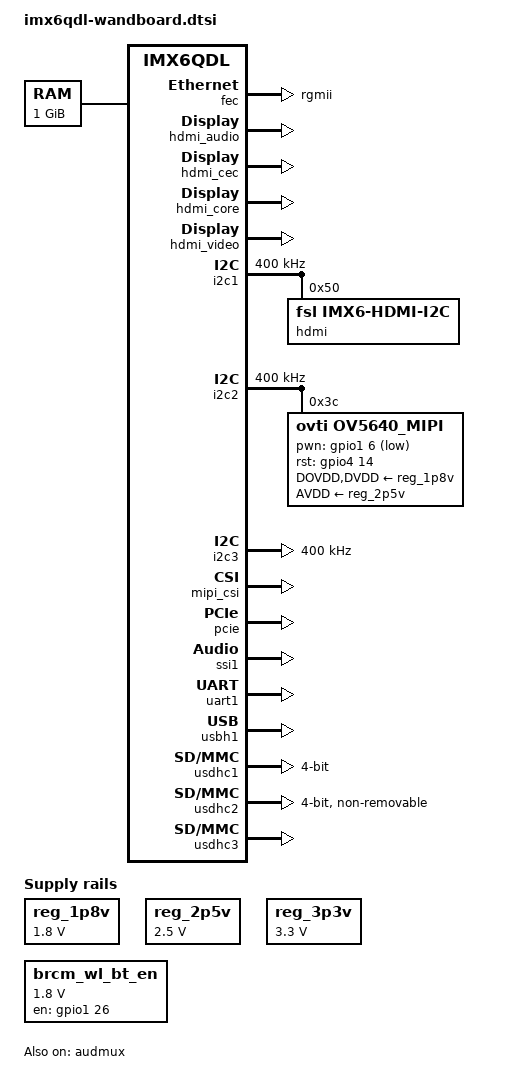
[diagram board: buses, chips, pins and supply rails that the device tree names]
/*
 * Copyright 2014 John Weber, Avnet Electronics Marketing
 * Copyright 2013 Boundary Devices
 * Copyright 2012 Freescale Semiconductor, Inc.
 * Copyright 2011 Linaro Ltd.
 *
 * The code contained herein is licensed under the GNU General Public
 * License. You may obtain a copy of the GNU General Public License
 * Version 2 or later at the following locations:
 *
 * http://www.opensource.org/licenses/gpl-license.html
 * http://www.gnu.org/copyleft/gpl.html
 */

/ {
	aliases {
		mxcfb0 = &mxcfb1;  /* TODO - Add Future display */
/*		mxcfb1 = &mxcfb2;
		mxcfb2 = &mxcfb3;
		mxcfb3 = &mxcfb4;
*/
	};

	memory {
		reg = <0x10000000 0x40000000>;
	};


	regulators {
		compatible = "simple-bus";

		reg_1p8v: 1p8v {
			compatible = "regulator-fixed";
			regulator-name = "1P8V";
			regulator-min-microvolt = <1800000>;
			regulator-max-microvolt = <1800000>;
			regulator-always-on;
		};

		reg_2p5v: 2p5v {
			compatible = "regulator-fixed";
			regulator-name = "2P5V";
			regulator-min-microvolt = <2500000>;
			regulator-max-microvolt = <2500000>;
			regulator-always-on;
		};

		reg_3p3v: 3p3v {
			compatible = "regulator-fixed";
			regulator-name = "3P3V";
			regulator-min-microvolt = <3300000>;
			regulator-max-microvolt = <3300000>;
			regulator-always-on;
		};
#if 0
		reg_usb_otg_vbus: usb_otg_vbus {
			compatible = "regulator-fixed";
			regulator-name = "usb_otg_vbus";
			regulator-min-microvolt = <5000000>;
			regulator-max-microvolt = <5000000>;
			gpio = <&gpio3 22 0>;
			enable-active-high;
		};
#endif

		brcm_wl_bt_en: brcm_wlan {
			compatible = "regulator-fixed";
			regulator-name = "brcm_wl_bt_en";
			regulator-min-microvolt = <1800000>;
			regulator-max-microvolt = <1800000>;
			gpio = <&gpio1 26 0>;
			startup-delay-us = <70000>;
			enable-active-high;
		};
	};


#if 0

	sound {
		compatible = "fsl,imx-audio-sgtl5000";
		model = "imx6q-nitrogen6x-sgtl5000";
		ssi-controller = <&ssi1>;
		audio-codec = <&codec>;
		audio-routing =
			"MIC_IN", "Mic Jack",
			"Mic Jack", "Mic Bias",
			"Headphone Jack", "HP_OUT";
		mux-int-port = <1>;
		mux-ext-port = <3>;
	};
	sound-hdmi {
		compatible = "fsl,imx6q-audio-hdmi",
			     "fsl,imx-audio-hdmi";
		model = "imx-audio-hdmi";
		hdmi-controller = <&hdmi_audio>;
	};
#endif

	mxcfb1: fb@0 {
		compatible = "fsl,mxc_sdc_fb";
		disp_dev = "hdmi";
		interface_pix_fmt = "RGB24";
		mode_str ="1920x1080M@60";
		default_bpp = <24>;
		int_clk = <0>;
		late_init = <0>;
		status = "disabled";
	};

#if 0
	mxcfb2: fb@1 {
		compatible = "fsl,mxc_sdc_fb";
		disp_dev = "hdmi";
		interface_pix_fmt = "RGB24";
		mode_str ="1920x1080M@60";
		default_bpp = <24>;
		int_clk = <0>;
		late_init = <0>;
		status = "disabled";
	};

	mxcfb3: fb@2 {
		compatible = "fsl,mxc_sdc_fb";
		disp_dev = "lcd";
		interface_pix_fmt = "RGB565";
		mode_str ="CLAA-WVGA";
		default_bpp = <16>;
		int_clk = <0>;
		late_init = <0>;
		status = "disabled";
	};

	mxcfb4: fb@3 {
		compatible = "fsl,mxc_sdc_fb";
		disp_dev = "ldb";
		interface_pix_fmt = "RGB666";
		mode_str ="LDB-XGA";
		default_bpp = <16>;
		int_clk = <0>;
		late_init = <0>;
		status = "disabled";
	};
#endif
#if 0
	lcd@0 {
		compatible = "fsl,lcd";
		ipu_id = <0>;
		disp_id = <0>;
		default_ifmt = "RGB565";
		pinctrl-names = "default";
		pinctrl-0 = <&pinctrl_ipu1_4>;
#if 0
		status = "okay";
#endif
	};

	backlight_lcd {
		compatible = "pwm-backlight";
		pwms = <&pwm1 0 5000000>;
		brightness-levels = <0 4 8 16 32 64 128 255>;
		default-brightness-level = <7>;
	};

	backlight_lvds {
		compatible = "pwm-backlight";
		pwms = <&pwm4 0 5000000>;
		brightness-levels = <0 4 8 16 32 64 128 255>;
		default-brightness-level = <7>;
	};
#endif
	v4l2_cap_0 {
		compatible = "fsl,imx6q-v4l2-capture";
		ipu_id = <0>;
		csi_id = <0>;
		mclk_source = <0>;
		status = "okay";
	};

	v4l2_out {
		compatible = "fsl,mxc_v4l2_output";
		status = "okay";
	};
};


&audmux {
	pinctrl-names = "default";
	pinctrl-0 = <&pinctrl_audmux_2>;
	status = "okay";
};

#if 0
&wlan {
	compatible = "brcm, brcmfmac";
	interrupt-parent = <&gpio6>;
	interrupts = <14 IRQ_TYPE_LEVEL_HIGH>;
	clocks = <&refclock>;
	clock-names = "refclock";

	refclock: refclock {
		compatible = "brcm,brcm-clock";
		#clock-cells = <0>;
		clock-frequency = <38400000>;
	};
	status = "disabled";
};
#endif

&fec {
	pinctrl-names = "default";
	pinctrl-0 = <&pinctrl_enet_3>;
	phy-mode = "rgmii";
	status = "okay";
};

&hdmi_audio {
	status = "okay";
};

&hdmi_cec {
	pinctrl-names = "default";
	pinctrl-0 = <&pinctrl_hdmi_cec_2>;
	status = "okay";
};

&hdmi_core {
	ipu_id = <0>;
	disp_id = <0>;
	status = "okay";
};

&hdmi_video {
	fsl,phy_reg_vlev = <0x0294>;
	fsl,phy_reg_cksymtx = <0x800d>;
	status = "okay";
};

&i2c1 {
	clock-frequency = <400000>;
	pinctrl-names = "default";
	pinctrl-0 = <&pinctrl_i2c1_1>;
	status = "okay";

	hdmi: edid@50 {
		compatible = "fsl,imx6-hdmi-i2c";
		reg = <0x50>;
	};

};

&i2c2 {
	clock-frequency = <400000>;
	pinctrl-names = "default";
	pinctrl-0 = <&pinctrl_i2c2_2>;
	status = "okay";

	ov5640_mipi: ov5640_mipi@3c {
		compatible = "ovti,ov5640_mipi";
		reg = <0x3c>;
		clocks = <&clks 200>;
		clock-names = "csi_mclk";
		DOVDD-supply = <&reg_1p8v>;
		AVDD-supply = <&reg_2p5v>;
		DVDD-supply = <&reg_1p8v>;
		pwn-gpios = <&gpio1 6 1>;
		rst-gpios = <&gpio4 14 0>;
		ipu_id = <0>;
		csi_id = <0>;
		mclk = <24000000>;
		mclk_source = <0>;
	};
};

&i2c3 {
        clock-frequency = <400000>;
        pinctrl-names = "default";
        pinctrl-0 = <&pinctrl_i2c3_3>;
        status = "okay";
};

&iomuxc {
	pinctrl-names = "default";
	pinctrl-0 = <&pinctrl_hog_1>;

	hog {
		pinctrl_hog_1: hoggrp-1 {
			fsl,pins = <
				MX6QDL_PAD_EIM_D22__GPIO3_IO22		0x80000000	/* otg power en */
				MX6QDL_PAD_GPIO_2__GPIO1_IO02		0x80000000	/* USDHC1 CD */
				MX6QDL_PAD_EIM_DA9__GPIO3_IO09		0x80000000	/* uSDHC3 CD */
				MX6QDL_PAD_GPIO_0__CCM_CLKO1		0x000b0		/* SGTL5000 sys_mclk */
				MX6QDL_PAD_GPIO_6__GPIO1_IO06		0x0b0b0		/* ov5640 mipi powerdown */
				MX6QDL_PAD_KEY_COL4__GPIO4_IO14		0x000b0		/* ov5640 mipi reset */
				MX6QDL_PAD_GPIO_3__CCM_CLKO2		0x000b0		/* ov5640 mclk */
				MX6QDL_PAD_EIM_A25__GPIO5_IO02		0x0b0b0		/* Wifi reset (active low) */
				MX6QDL_PAD_ENET_RXD1__GPIO1_IO26	0x000b0		/* Wifi power enable */
				MX6QDL_PAD_ENET_TXD1__GPIO1_IO29	0x80000000	/* Wifi host wake */
				MX6QDL_PAD_EIM_EB1__GPIO2_IO29		0x000b0		/* Wifi 32kHz slow clock */
				MX6QDL_PAD_EIM_DA11__GPIO3_IO11 	0x80000000  	/* GPIO EDM p256 */
				MX6QDL_PAD_EIM_D27__GPIO3_IO27 		0x80000000 	/* GPIO EDM p258 */
				MX6QDL_PAD_EIM_BCLK__GPIO6_IO31		0x80000000	/* GPIO EDM p260 */
				MX6QDL_PAD_ENET_RX_ER__GPIO1_IO24	0x80000000	/* GPIO EDM p262 */
				MX6QDL_PAD_SD3_RST__GPIO7_IO08 		0x80000000	/* GPIO EDM p264 */
				MX6QDL_PAD_EIM_D26__GPIO3_IO26 		0x80000000	/* GPIO EDM p259 */
				MX6QDL_PAD_EIM_DA8__GPIO3_IO08 		0x80000000	/* GPIO EDM p261 */
				MX6QDL_PAD_GPIO_19__GPIO4_IO05 		0x80000000	/* GPIO EDM p263 */
			>;
		};
	};
};


#if 0
&ldb {
	ipu_id = <0>;
	disp_id = <1>;
	ext_ref = <1>;
	mode = "sin0";
	sec_ipu_id = <1>;
	sec_disp_id = <1>;
	status = "okay";
};
#endif

&mipi_csi {
	ipu_id = <0>;
	csi_id = <0>;
	v_channel = <0>;
	lanes = <2>;
	status = "okay";
};

&pcie {
	status = "okay";
};

#if 0
&pwm1 {
	pinctrl-names = "default";
	pinctrl-0 = <&pinctrl_pwm1_1>;
	status = "okay";
};

&pwm3 {
	pinctrl-names = "default";
	pinctrl-0 = <&pinctrl_pwm3_2>;
	status = "okay";
};

&pwm4 {
	pinctrl-names = "default";
	pinctrl-0 = <&pinctrl_pwm4_2>;
	status = "okay";
};
#endif


&ssi1 {
	fsl,mode = "i2s-slave";
	status = "okay";
};

&uart1 {
	pinctrl-names = "default";
	pinctrl-0 = <&pinctrl_uart1_1>;
	status = "okay";
};

&usbh1 {
	status = "okay";
};

#if 0
&usbotg {
	vbus-supply = <&reg_usb_otg_vbus>;
	pinctrl-names = "default";
	pinctrl-0 = <&pinctrl_usbotg_1>;
	disable-over-current;
	status = "okay";
};
#endif

&usdhc1 {  /* Baseboard microSD slot */
	pinctrl-names = "default";
	pinctrl-0 = <&pinctrl_usdhc1_1>;
	bus-width = <4>;
	status = "okay";
};

&usdhc2 {  /* Broadcom Wifi/BT  */
	pinctrl-names = "default";
	pinctrl-0 = <&pinctrl_usdhc2_2>;
	bus-width = <4>;
	non-removable;
/*	vmmc-supply = <&brcm_wl_bt_en>; */
	power-off-card;
	keep-power-in-suspend;
	status = "okay";
};

&usdhc3 {
	pinctrl-names = "default";
	pinctrl-0 = <&pinctrl_usdhc3_2>;
	status = "okay";
};

